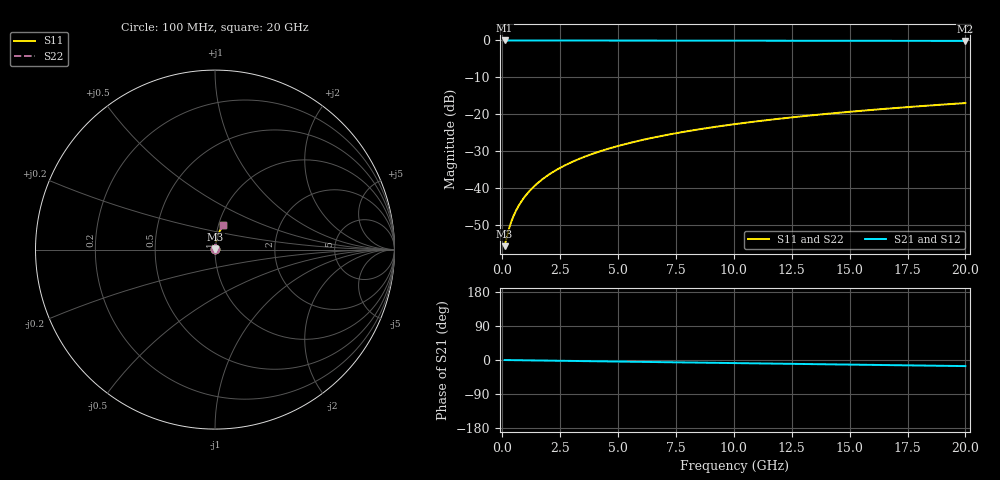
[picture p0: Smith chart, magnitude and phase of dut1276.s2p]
! Touchstone file exported from HFSS 2026.1.0
!  File:  C:/ffzhzh/LocalFiles/Ansys_Project_Files/temp_train_BSMRDL_1276_1783177755_22436.aedt
!  Generated:  11:10:27 PM Jul  4, 2026
!  Design:  BSMRDL
!  Project:  temp_train_BSMRDL_1276_1783177755_22436
! Variables:
!  h_bsmrdl = 2.98um
!  h_ox = 20um
!  h_rdl = 5um
!  h_sub = 80um
!  h_tmrdl = 5um
!  h_tsv = 80um
!  h_via = 3um
!  l_bsmrdl = 217um
!  l_sub = 617um
!  l_tmrdl = 200um
!  m_sub = 200um
!  pitch = 40.39um
!  r_tsv = 6um
!  s_tmrdl = 10um
!  w_bsmrdl = 22.41um
!  w_sub = 500um
!  w_tmrdl = 12um
!  x_tsv_center1 = 206um
!  x_tsv_center2 = 445.41um
!  x_tsv_center3 = 657.41um
!  x_tsv_center4 = 896.82um
!  x_tsv_center5 = 1108.82um
!  x_tsv_center6 = 1348.23um
# GHz S MA R 50.000000
! Terminal data exported
! Port[1] = BSM_RDL1_1_T1
! Port[2] = BSM_RDL1_1_T2
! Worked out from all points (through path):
!   200 points, 100 MHz to 20 GHz, reference 50 ohm
!   highest |S21| = -0.01 dB at 100 MHz (marker M1); lowest = -0.1 dB at 20 GHz (marker M2)
!   group delay of S21, straight-line fit = 2.24 ps
!   lowest |S11| = -55.6 dB at 100 MHz (marker M3), VSWR 1.00, Z = 50.1 + j0.0857 ohm
!   |S11| at or under -10 dB: start of sweep to end of sweep
!   |S22| runs from -55.6 to -16.9 dB; largest |S21 - S12| = 5.1e-15
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0.1  0.001661 31.0  0.9986 -0.1  0.9986 -0.1  0.001661 31.0
! Gamma 0 0 0 0
! Port Impedance 50 0 50 0
0.2  0.002246 48.7  0.9985 -0.2  0.9985 -0.2  0.002246 48.7
0.3  0.002935 57.9  0.9984 -0.3  0.9984 -0.3  0.002935 57.9
0.4  0.003646 63.3  0.9984 -0.3  0.9984 -0.3  0.003646 63.3
0.5  0.00436 67.0  0.9983 -0.4  0.9983 -0.4  0.00436 67.0
0.6  0.005075 69.6  0.9983 -0.5  0.9983 -0.5  0.005074 69.6
0.8  0.006507 73.3  0.9982 -0.7  0.9982 -0.7  0.006507 73.3
1.1  0.008676 76.7  0.9981 -0.9  0.9981 -0.9  0.008676 76.7
1.3  0.01014 78.1  0.9981 -1.1  0.9981 -1.1  0.01014 78.1
1.6  0.01234 79.6  0.998 -1.3  0.998 -1.3  0.01234 79.6
2.1  0.01603 81.1  0.9979 -1.7  0.9979 -1.7  0.01603 81.1
2.7  0.02049 81.9  0.9977 -2.2  0.9977 -2.2  0.02049 81.9
3.5  0.02642 82.3  0.9975 -2.9  0.9975 -2.9  0.02642 82.3
4.2  0.03161 82.3  0.9972 -3.5  0.9972 -3.5  0.03161 82.3
5  0.03751 82.1  0.9968 -4.1  0.9968 -4.1  0.03751 82.1
5.9  0.04411 81.7  0.9964 -4.9  0.9964 -4.9  0.04411 81.7
6.8  0.05068 81.2  0.9958 -5.6  0.9958 -5.6  0.05068 81.2
8.3  0.06153 80.2  0.9949 -6.8  0.9949 -6.8  0.06153 80.2
10.1  0.07439 78.9  0.9936 -8.3  0.9936 -8.3  0.07439 78.9
13.4  0.09756 76.5  0.9909 -10.9  0.9909 -10.9  0.09756 76.6
16.7  0.1202 74.1  0.9878 -13.5  0.9878 -13.5  0.1202 74.1
20  0.1424 71.7  0.9844 -16.1  0.9844 -16.1  0.1424 71.7
